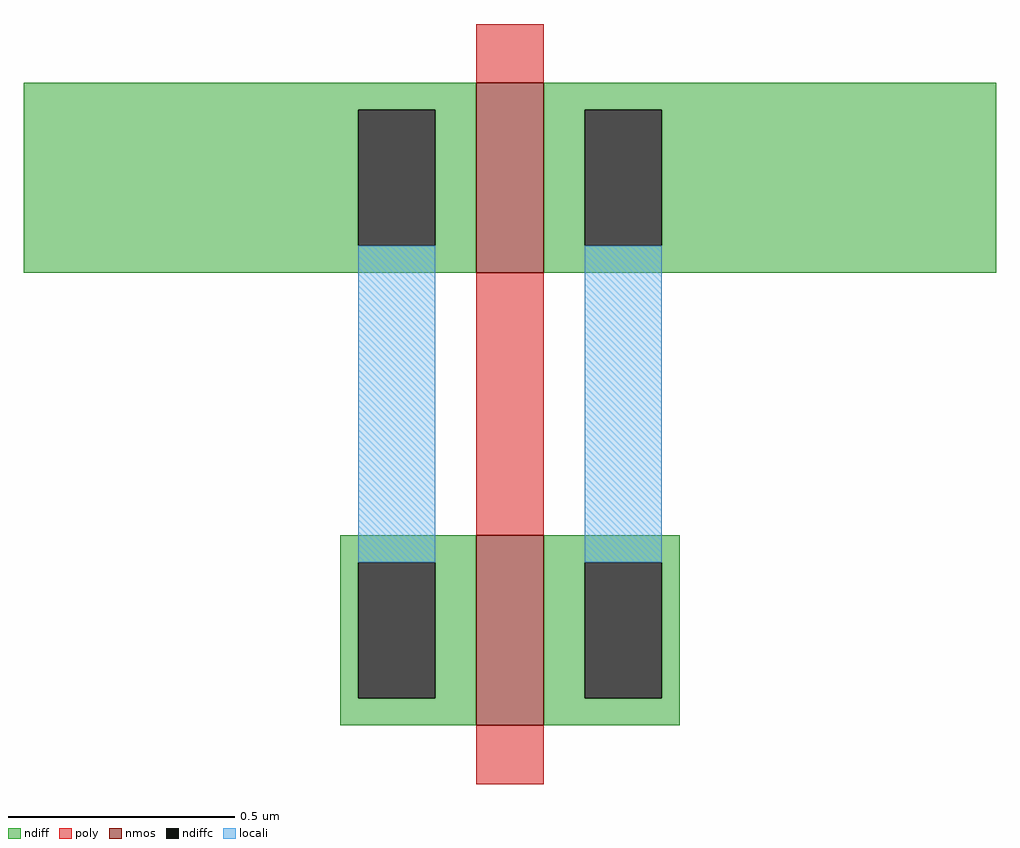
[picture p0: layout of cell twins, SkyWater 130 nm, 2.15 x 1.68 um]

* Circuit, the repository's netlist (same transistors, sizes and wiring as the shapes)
* NGSPICE file created from twins.ext - technology: sky130A

.subckt twins
X0 a_90_0# a_60_n26# a_n140_200# VSUBS sky130_fd_pr__nfet_01v8 ad=0.42 pd=2.84 as=0.42 ps=2.84 w=0.42 l=0.15
X1 a_90_0# a_60_n26# a_n140_200# VSUBS sky130_fd_pr__nfet_01v8 ad=0.126 pd=1.44 as=0.126 ps=1.44 w=0.42 l=0.15
.ends

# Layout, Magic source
magic
tech sky130A
<< nmos >>
rect 30 100 45 142
rect 30 0 45 42
<< ndiff >>
rect -70 136 30 142
rect -70 106 4 136
rect 21 106 30 136
rect -70 100 30 106
rect 45 136 145 142
rect 45 106 54 136
rect 71 106 145 136
rect 45 100 145 106
rect 0 36 30 42
rect 0 6 4 36
rect 21 6 30 36
rect 0 0 30 6
rect 45 36 75 42
rect 45 6 54 36
rect 71 6 75 36
rect 45 0 75 6
<< ndiffc >>
rect 4 106 21 136
rect 54 106 71 136
rect 4 6 21 36
rect 54 6 71 36
<< poly >>
rect 30 142 45 155
rect 30 42 45 100
rect 30 -13 45 0
<< locali >>
rect 4 36 21 106
rect 54 36 71 106
<< end >>
